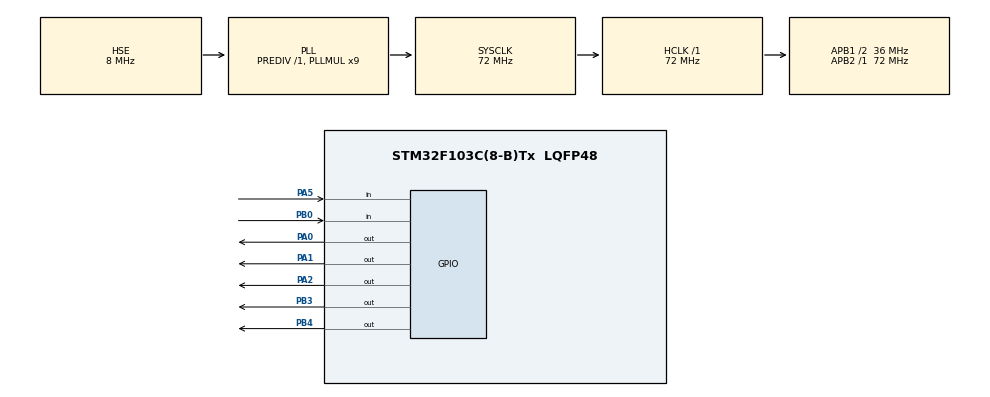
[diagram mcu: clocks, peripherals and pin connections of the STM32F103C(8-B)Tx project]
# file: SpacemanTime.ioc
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Mcu.Family=STM32F1
Mcu.Name=STM32F103C(8-B)Tx
Mcu.Package=LQFP48
NVIC.PriorityGroup=NVIC_PRIORITYGROUP_4
PA0-WKUP.GPIO_Speed=GPIO_SPEED_FREQ_HIGH
PA0-WKUP.Signal=GPIO_Output
PA1.GPIO_Speed=GPIO_SPEED_FREQ_HIGH
PA1.Signal=GPIO_Output
PA13.Mode=Serial_Wire
PA13.Signal=SYS_JTMS-SWDIO
PA14.Mode=Serial_Wire
PA14.Signal=SYS_JTCK-SWCLK
PA2.GPIO_Speed=GPIO_SPEED_FREQ_HIGH
PA2.Signal=GPIO_Output
PA5.GPIO_PuPd=GPIO_PULLUP
PA5.Signal=GPIO_Input
PB0.GPIO_PuPd=GPIO_PULLUP
PB0.Signal=GPIO_Input
PB3.GPIO_PuPd=GPIO_PULLUP
PB3.GPIO_Speed=GPIO_SPEED_FREQ_HIGH
PB3.Signal=GPIO_Output
PB4.GPIO_PuPd=GPIO_PULLUP
PB4.GPIO_Speed=GPIO_SPEED_FREQ_HIGH
PB4.Signal=GPIO_Output
PD0-OSC_IN.Mode=HSE-External-Oscillator
PD0-OSC_IN.Signal=RCC_OSC_IN
PD1-OSC_OUT.Mode=HSE-External-Oscillator
PD1-OSC_OUT.Signal=RCC_OSC_OUT
ProjectManager.HeapSize=0x200
ProjectManager.StackSize=0x400
ProjectManager.TargetToolchain=STM32CubeIDE
RCC.AHBFreq_Value=72000000
RCC.APB1CLKDivider=RCC_HCLK_DIV2
RCC.APB1Freq_Value=36000000
RCC.APB1TimFreq_Value=72000000
RCC.APB2Freq_Value=72000000
RCC.APB2TimFreq_Value=72000000
RCC.HCLKFreq_Value=72000000
RCC.PLLMUL=RCC_PLL_MUL9
RCC.PLLSourceVirtual=RCC_PLLSOURCE_HSE
RCC.SYSCLKFreq_VALUE=72000000
RCC.SYSCLKSource=RCC_SYSCLKSOURCE_PLLCLK
RCC.USBFreq_Value=72000000
board=custom

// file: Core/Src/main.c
/* USER CODE BEGIN Header */
/**
  ******************************************************************************
  * @file           : main.c
  * @brief          : Main program body
  ******************************************************************************
  * @attention
  *
  * Copyright (c) 2022 STMicroelectronics.
  * All rights reserved.
  *
  * This software is licensed under terms that can be found in the LICENSE file
  * in the root directory of this software component.
  * If no LICENSE file comes with this software, it is provided AS-IS.
  *
  ******************************************************************************
  */
/* USER CODE END Header */
#include "main.h"

void SystemClock_Config(void);
static void MX_GPIO_Init(void);

int main(void)
{
  /* USER CODE BEGIN 1 */
	unsigned char hour = 0, minite = 0, second = 0;
	uint8_t temperature = 0, humidity = 0;
	uint8_t status=0;
  /* USER CODE END 1 */

  /* MCU Configuration--------------------------------------------------------*/

  /* Reset of all peripherals, Initializes the Flash interface and the Systick. */
  HAL_Init();

  /* Configure the system clock */
  SystemClock_Config();

  /* Initialize all configured peripherals */
  MX_GPIO_Init();
  /* USER CODE BEGIN 2 */
  OLED_Init();
  DHT11_Init();
//  DS1302_SetTime(22, 7, 18, 23, 40, 10); // 设定初始时间

  OLED_ShowTempLogo(0, 4);
  OLED_ShowHumidityLogo(48, 4);
  /* USER CODE END 2 */

  /* Infinite loop */
  while (1)
  {

    /* USER CODE BEGIN 3 */

	  DS1302_GetHour(&hour);
	  DS1302_GetMinite(&minite);
	  DS1302_GetSecond(&second);
	  OLED_ShowTime(hour, minite, second);
	  status = DHT11_ReadData(&temperature, &humidity);

	  if(status !=0)
	  {
		  OLED_ShowNum(25, 6,temperature, 2, 16);
		  OLED_ShowDegreeLogo(41, 6);

		  OLED_ShowNum(70, 6, humidity, 2, 16);
		  OLED_ShowChar(86, 6, '%',16);
	  }

	  OLED_DrawSpaceman_v2();

	HAL_Delay(100);
  }
  /* USER CODE END 3 */
}

void SystemClock_Config(void)
{
  RCC_OscInitTypeDef RCC_OscInitStruct = {0};
  RCC_ClkInitTypeDef RCC_ClkInitStruct = {0};

  /** Initializes the RCC Oscillators according to the specified parameters
  * in the RCC_OscInitTypeDef structure.
  */
  RCC_OscInitStruct.OscillatorType = RCC_OSCILLATORTYPE_HSE;
  RCC_OscInitStruct.HSEState = RCC_HSE_ON;
  RCC_OscInitStruct.HSEPredivValue = RCC_HSE_PREDIV_DIV1;
  RCC_OscInitStruct.HSIState = RCC_HSI_ON;
  RCC_OscInitStruct.PLL.PLLState = RCC_PLL_ON;
  RCC_OscInitStruct.PLL.PLLSource = RCC_PLLSOURCE_HSE;
  RCC_OscInitStruct.PLL.PLLMUL = RCC_PLL_MUL9;
  if (HAL_RCC_OscConfig(&RCC_OscInitStruct) != HAL_OK)
  {
    Error_Handler();
  }

  /** Initializes the CPU, AHB and APB buses clocks
  */
  RCC_ClkInitStruct.ClockType = RCC_CLOCKTYPE_HCLK|RCC_CLOCKTYPE_SYSCLK
                              |RCC_CLOCKTYPE_PCLK1|RCC_CLOCKTYPE_PCLK2;
  RCC_ClkInitStruct.SYSCLKSource = RCC_SYSCLKSOURCE_PLLCLK;
  RCC_ClkInitStruct.AHBCLKDivider = RCC_SYSCLK_DIV1;
  RCC_ClkInitStruct.APB1CLKDivider = RCC_HCLK_DIV2;
  RCC_ClkInitStruct.APB2CLKDivider = RCC_HCLK_DIV1;

  if (HAL_RCC_ClockConfig(&RCC_ClkInitStruct, FLASH_LATENCY_2) != HAL_OK)
  {
    Error_Handler();
  }
}

static void MX_GPIO_Init(void)
{
  GPIO_InitTypeDef GPIO_InitStruct = {0};

  /* GPIO Ports Clock Enable */
  __HAL_RCC_GPIOD_CLK_ENABLE();
  __HAL_RCC_GPIOA_CLK_ENABLE();
  __HAL_RCC_GPIOB_CLK_ENABLE();

  /*Configure GPIO pin Output Level */
  HAL_GPIO_WritePin(GPIOA, GPIO_PIN_0|GPIO_PIN_1|GPIO_PIN_2, GPIO_PIN_RESET);

  /*Configure GPIO pin Output Level */
  HAL_GPIO_WritePin(GPIOB, GPIO_PIN_3|GPIO_PIN_4, GPIO_PIN_RESET);

  /*Configure GPIO pins : PA0 PA1 PA2 */
  GPIO_InitStruct.Pin = GPIO_PIN_0|GPIO_PIN_1|GPIO_PIN_2;
  GPIO_InitStruct.Mode = GPIO_MODE_OUTPUT_PP;
  GPIO_InitStruct.Pull = GPIO_NOPULL;
  GPIO_InitStruct.Speed = GPIO_SPEED_FREQ_HIGH;
  HAL_GPIO_Init(GPIOA, &GPIO_InitStruct);

  /*Configure GPIO pin : PA5 */
  GPIO_InitStruct.Pin = GPIO_PIN_5;
  GPIO_InitStruct.Mode = GPIO_MODE_INPUT;
  GPIO_InitStruct.Pull = GPIO_PULLUP;
  HAL_GPIO_Init(GPIOA, &GPIO_InitStruct);

  /*Configure GPIO pin : PB0 */
  GPIO_InitStruct.Pin = GPIO_PIN_0;
  GPIO_InitStruct.Mode = GPIO_MODE_INPUT;
  GPIO_InitStruct.Pull = GPIO_PULLUP;
  HAL_GPIO_Init(GPIOB, &GPIO_InitStruct);

  /*Configure GPIO pins : PB3 PB4 */
  GPIO_InitStruct.Pin = GPIO_PIN_3|GPIO_PIN_4;
  GPIO_InitStruct.Mode = GPIO_MODE_OUTPUT_PP;
  GPIO_InitStruct.Pull = GPIO_PULLUP;
  GPIO_InitStruct.Speed = GPIO_SPEED_FREQ_HIGH;
  HAL_GPIO_Init(GPIOB, &GPIO_InitStruct);

}

void Error_Handler(void)
{
  __disable_irq();
  while (1)
  {
  }
}
